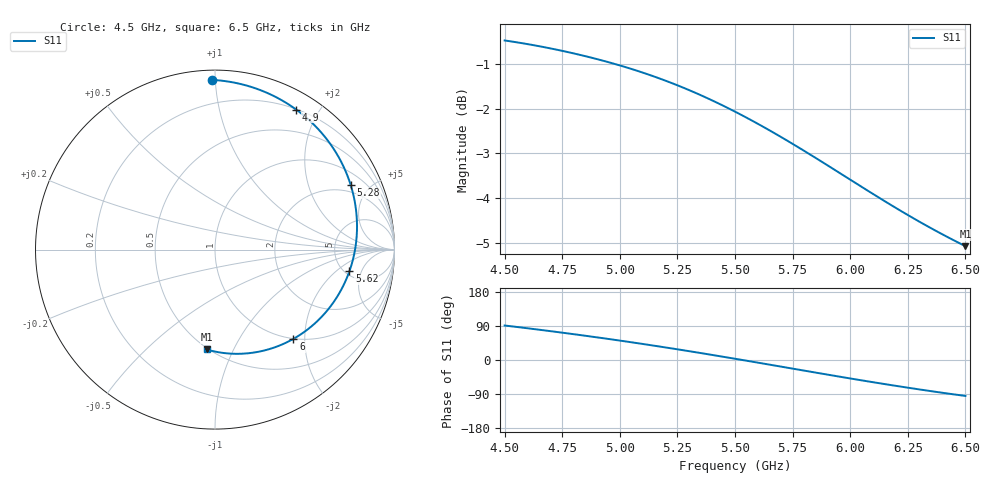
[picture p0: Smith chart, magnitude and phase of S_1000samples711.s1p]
! TOUCHSTONE file generated by CST MICROWAVE STUDIO
! Date and time: Sat Oct 29 02:54:23 2022
! Project name: L.cst
! Parameters = {Di=1.27; Epsilon_r=1.56; InnerDiameter=1.27; Length=2; Lf=10; Lg=60; OuterConductorThickness=0.2921; OuterDiameter=3.6; Wf=3; Wp=41.2; de=1.5; df=6.8; g=0.8; gx=1.08438; gy=3.8039; h=2.34; hf=1.524; px=8.70501; py=10.2484; w=9.7; wx=7.62063; wy=6.44449}
! Header version: 2018
! Port assignment regex: !\s*Touchstone port\s*([0-9]+)\s*=\s*(CST MWS port|CST DS port)\s*([0-9]+|Zmin|Zmax)\s*\(\"(.*)\"\)(\s*mode\s*([0-9]+))?.*
! Touchstone port assignment:
! Touchstone port 1 = CST MWS port 1 ("")
# GHz S DB R 50
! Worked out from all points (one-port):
!   101 points, 4.5 GHz to 6.5 GHz, reference 50 ohm
!   lowest |S11| = -5.1 dB at 6.5 GHz (marker M1), VSWR 3.53, Z = 24.5 - j39.6 ohm
!   |S11| at or under -10 dB: nowhere
!   S11 on the Smith chart (normalised r, x): 4.5 GHz: 0.05, +0.98; 4.9 GHz: 0.21, +1.72; 5.28 GHz: 1.60, +3.82; 5.62 GHz: 5.48, -3.11; 6 GHz: 1.00, -1.76; 6.5 GHz: 0.49, -0.79
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4.5  -0.48 91.1
4.58  -0.55 85.2
4.64  -0.60 80.7
4.76  -0.73 71.3
4.84  -0.82 64.8
4.9  -0.90 59.8
5  -1.04 51.2
5.08  -1.17 44.1
5.14  -1.27 38.6
5.2  -1.38 33.0
5.26  -1.50 27.2
5.28  -1.55 25.3
5.34  -1.68 19.4
5.4  -1.82 13.5
5.5  -2.07 3.3
5.56  -2.23 -2.9
5.62  -2.40 -9.1
5.68  -2.57 -15.4
5.76  -2.82 -23.8
5.88  -3.20 -36.3
5.94  -3.39 -42.5
6  -3.58 -48.7
6.06  -3.78 -54.7
6.12  -3.97 -60.6
6.18  -4.16 -66.4
6.26  -4.40 -74.0
6.38  -4.74 -84.7
6.5  -5.06 -94.8
